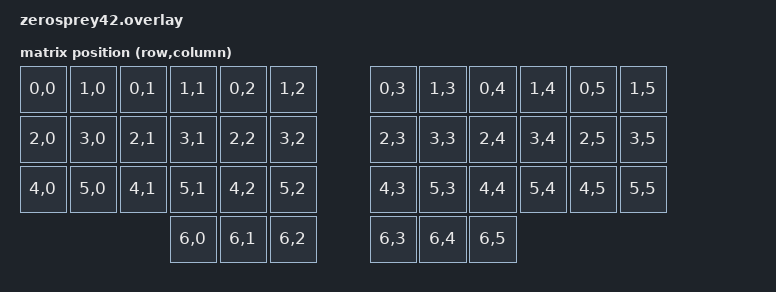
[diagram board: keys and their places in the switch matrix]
/*
 * Copyright (c) 2020 The ZMK Contributors
 * and (c) 2022 tubbytwins (Matthew A. Schnoor) and beekeeb
 *
 * SPDX-License-Identifier: MIT
 */
 
 #include <dt-bindings/zmk/matrix_transform.h>

/ {
    chosen {
        zmk,kscan = &mock_kscan;
        zmk,matrix_transform = &default_transform;
        /delete-property/ zephyr,console;
	    /delete-property/ zephyr,shell-uart;
        zephyr,display = &st7789v;
    };

    mock_kscan: kscan_0 {
        compatible = "zmk,kscan-mock";
        columns = <0>;
        rows = <0>;
        events = <0>;
    };

    default_transform: keymap_transform_0 {
        compatible = "zmk,matrix-transform";
        columns = <14>;
        rows = <4>;
        map = <
            RC(0,0) RC(1,0) RC(0,1) RC(1,1) RC(0,2) RC(1,2)      RC(0,3) RC(1,3) RC(0,4) RC(1,4) RC(0,5) RC(1,5)
            RC(2,0) RC(3,0) RC(2,1) RC(3,1) RC(2,2) RC(3,2)      RC(2,3) RC(3,3) RC(2,4) RC(3,4) RC(2,5) RC(3,5)
            RC(4,0) RC(5,0) RC(4,1) RC(5,1) RC(4,2) RC(5,2)      RC(4,3) RC(5,3) RC(4,4) RC(5,4) RC(4,5) RC(5,5)
                                    RC(6,0) RC(6,1) RC(6,2)      RC(6,3) RC(6,4) RC(6,5)
        >;
    };
};

&pinctrl {
	spi1_default: spi1_default {
		group1 {
            pinmux = <SPI1_SCK_P10>, <SPI1_TX_P11>;
		};
	};

	spi1_sleep: spi1_sleep {
		group1 {
            pinmux = <SPI1_SCK_P10>, <SPI1_TX_P11>;
		};
	};
};

&spi1 {
	status = "okay";
	pinctrl-0 = <&spi1_default>;
 	pinctrl-1 = <&spi1_sleep>;
	cs-gpios = <&gpio0 13 GPIO_ACTIVE_LOW>;
	pinctrl-names = "default", "sleep";
	
	st7789v: st7789v@0 {
		compatible = "sitronix,st7789v";
		spi-max-frequency = <20000000>;
		reg = <0>;
		cmd-data-gpios = <&gpio0 12 GPIO_ACTIVE_LOW>;
		reset-gpios = <&gpio0 9 GPIO_ACTIVE_LOW>;
		width = <320>;
		height = <240>;
		x-offset = <0>;
		y-offset = <0>;
		vcom = <0x19>;
		gctrl = <0x35>;
		vrhs = <0x12>;
		vdvs = <0x20>;
		vdvs = <0x20>;
		mdac = <0x00>;
		lcm = <0x2c>;
		colmod = <0x05>;
		gamma = <0x01>;
		porch-param = [0c 0c 00 33 33];
		cmd2en-param = [5a 69 02 01];
		pwctrl1-param = [a4 a1];
		pvgam-param = [D0 04 0D 11 13 2B 3F 54 4C 18 0D 0B 1F 23];
		nvgam-param = [D0 04 0C 11 13 2C 3F 44 51 2F 1F 1F 20 23];
		ram-param = [00 F0];
		rgb-param = [CD 08 14];
	};
};
